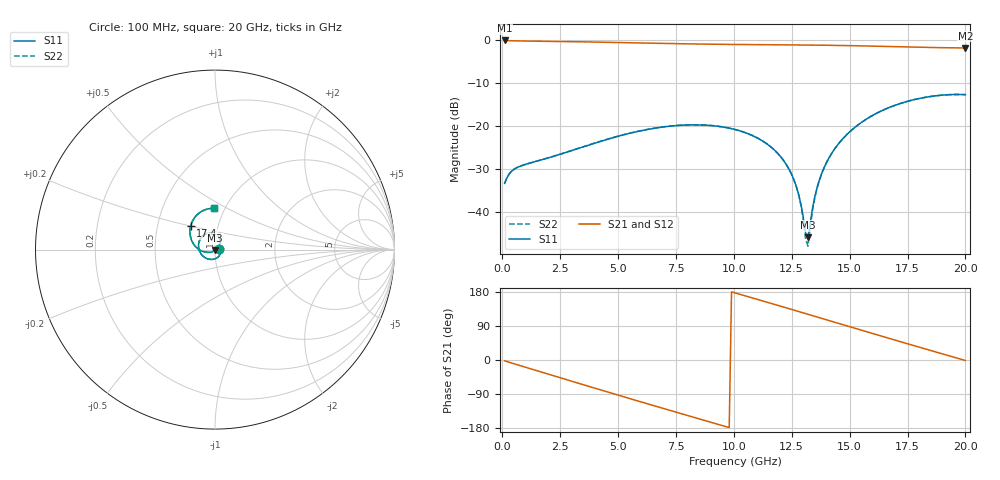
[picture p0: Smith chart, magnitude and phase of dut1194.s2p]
! Touchstone file exported from HFSS 2026.1.0
!  File:  C:/ffzhzh/LocalFiles/Ansys_Project_Files/temp_train_TSV_RDL_1194_1783317457_5512.aedt
!  Generated:  02:06:19 PM Jul  6, 2026
!  Design:  TSV_RDL
!  Project:  temp_train_TSV_RDL_1194_1783317457_5512
! Variables:
!  h_bsmrdl = 4.14um
!  h_ox = 20um
!  h_rdl = 5um
!  h_sub = 72.29um
!  h_tmrdl = 4.13um
!  h_tsv = 72.29um
!  h_via = 3um
!  l_bsmrdl = 686.71um
!  l_sub = 6153.31um
!  l_tmrdl = 883.35um
!  m_sub = 200um
!  pitch = 31.11um
!  r_tsv = 9.95um
!  s_tmrdl = 10um
!  w_bsmrdl = 28.8um
!  w_sub = 500um
!  w_tmrdl = 24.46um
!  x_tsv_center1 = 895.58um
!  x_tsv_center2 = 1611.09um
!  x_tsv_center3 = 2518.9um
!  x_tsv_center4 = 3234.41um
!  x_tsv_center5 = 4142.22um
!  x_tsv_center6 = 4857.73um
# GHz S MA R 50.000000
! Terminal data exported
! Port[1] = TM_RDL1_1_T1
! Port[2] = TM_RDL5_1_T1
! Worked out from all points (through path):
!   200 points, 100 MHz to 20 GHz, reference 50 ohm
!   highest |S21| = -0.18 dB at 100 MHz (marker M1); lowest = -1.9 dB at 20 GHz (marker M2)
!   group delay of S21, straight-line fit = 50 ps
!   lowest |S11| = -46.0 dB at 13.2 GHz (marker M3), VSWR 1.01, Z = 50.2 - j0.479 ohm
!   |S11| at or under -10 dB: start of sweep to end of sweep
!   |S22| runs from -48.0 to -12.8 dB; largest |S21 - S12| = 2.4e-14
!   S11 on the Smith chart (normalised r, x): 100 MHz: 1.04, +0.01; 17.4 GHz: 0.74, +0.20; 20 GHz: 0.89, +0.43
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0.1  0.02125 9.1  0.9791 -2.2  0.9791 -2.2  0.02125 9.1
! Gamma 0 0 0 0
! Port Impedance 50 0 50 0
0.7  0.03312 -10.4  0.9666 -13.5  0.9666 -13.5  0.03313 -10.4
2  0.04225 -57.7  0.9567 -37.6  0.9567 -37.6  0.04234 -57.6
3.5  0.05667 -106.1  0.9435 -65.3  0.9435 -65.3  0.05689 -106.0
5.1  0.07645 -152.5  0.9258 -94.5  0.9258 -94.5  0.07674 -152.2
6.8  0.09524 164.1  0.9061 -125.1  0.9061 -125.1  0.09553 164.5
8.5  0.102 125.2  0.8894 -155.3  0.8894 -155.3  0.1022 125.7
10.1  0.08938 91.0  0.8788 176.3  0.8788 176.3  0.0895 91.7
11.4  0.06212 63.5  0.8732 153.2  0.8732 153.2  0.06216 64.5
12.3  0.03408 42.1  0.8699 137.0  0.8699 137.0  0.03403 43.9
12.8  0.01581 22.6  0.8678 128.0  0.8678 128.0  0.01557 26.5
13  0.008539 2.0  0.8669 124.3  0.8669 124.3  0.008025 8.7
13.1  0.005661 -24.4  0.8664 122.5  0.8664 122.5  0.004796 -17.1
13.2  0.005023 -71.9  0.8659 120.7  0.8659 120.7  0.003961 -75.1
13.4  0.01097 -124.8  0.8648 117.1  0.8648 117.1  0.01048 -130.0
13.8  0.02806 -148.8  0.8624 109.8  0.8624 109.8  0.02785 -150.9
14.4  0.05586 -165.2  0.8579 98.9  0.8579 98.9  0.05573 -166.2
15.4  0.1038 173.8  0.8484 80.7  0.8484 80.7  0.1037 173.2
16.7  0.1621 149.0  0.8327 57.1  0.8327 57.1  0.162 148.6
17.4  0.1885 136.3  0.8238 44.6  0.8238 44.6  0.1884 136.0
18.7  0.2221 113.6  0.8093 21.6  0.8093 21.6  0.222 113.3
20  0.2293 91.9  0.8008 -1.4  0.8008 -1.4  0.2291 91.6
